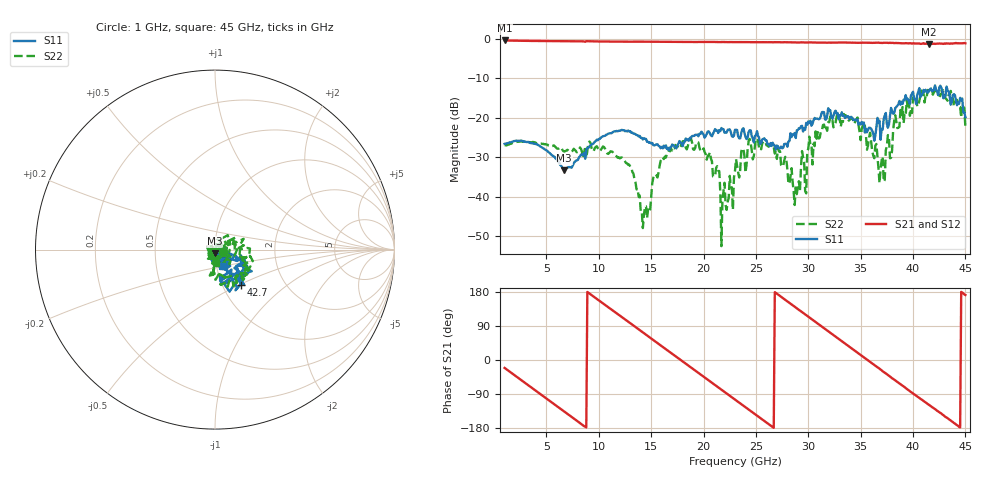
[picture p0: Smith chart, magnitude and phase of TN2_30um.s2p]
!Keysight Technologies,N5247B,MY61255062,A.19.80.06
!Date: Monday, May 18, 2026 12:48:02
!Correction: S11(Cdelta 2-Port  )
!S21(Cdelta 2-Port  )
!S12(Cdelta 2-Port  )
!S22(Cdelta 2-Port  )
!S2P File: Measurements: S11, S21, S12, S22:
# Hz S  dB  R 50
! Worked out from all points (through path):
!   441 points, 1 GHz to 45 GHz, reference 50 ohm
!   highest |S21| = -0.41 dB at 1 GHz (marker M1); lowest = -1.3 dB at 41.5 GHz (marker M2)
!   group delay of S21, straight-line fit = 56 ps
!   lowest |S11| = -33.3 dB at 6.7 GHz (marker M3), VSWR 1.04, Z = 49.8 - j2.15 ohm
!   |S11| at or under -10 dB: start of sweep to end of sweep
!   |S22| runs from -52.6 to -12.7 dB; largest |S21 - S12| = 0.012
!   S11 on the Smith chart (normalised r, x): 1 GHz: 1.09, -0.03; 42.7 GHz: 1.22, -0.50; 45 GHz: 1.06, -0.20
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1e9  -26.65 -16.0  -0.41 -20.9  -0.40 -20.9  -26.99 -17.7
3.9e9  -26.64 -78.9  -0.54 -79.6  -0.53 -79.6  -26.26 -79.8
6.7e9  -33.32 -93.3  -0.60 -136.1  -0.60 -136.0  -28.59 -112.6
8.4e9  -29.49 -60.3  -0.63 -170.5  -0.62 -170.5  -28.78 -112.8
1.04e10  -24.71 -71.2  -0.69 149.2  -0.68 149.2  -27.29 -136.9
1.29e10  -23.52 -101.6  -0.73 99.2  -0.72 99.2  -31.92 -166.6
1.42e10  -25.51 -107.3  -0.72 72.8  -0.72 72.8  -48.01 -114.7
1.57e10  -27.17 -100.5  -0.74 42.6  -0.74 42.6  -33.86 -72.0
1.89e10  -24.66 -80.6  -0.80 -21.7  -0.79 -21.7  -26.28 -110.2
2.13e10  -23.23 -83.0  -0.81 -70.3  -0.81 -70.2  -32.29 -176.4
2.19e10  -22.90 -83.2  -0.80 -82.2  -0.80 -82.1  -38.76 106.0
2.3e10  -23.08 -90.5  -0.83 -104.4  -0.82 -104.3  -33.53 -24.3
2.44e10  -23.22 -90.2  -0.83 -132.6  -0.84 -132.6  -25.38 -47.5
2.67e10  -26.98 -70.6  -0.85 -179.0  -0.85 -178.9  -27.50 -98.1
2.88e10  -25.16 -46.2  -0.91 138.5  -0.91 138.5  -37.70 101.2
3.04e10  -21.57 -46.6  -0.94 106.2  -0.94 106.1  -31.88 29.8
3.44e10  -20.66 -64.9  -0.97 25.8  -1.00 25.7  -21.58 -70.2
3.7e10  -22.86 -28.9  -1.04 -27.0  -1.02 -27.3  -30.82 134.1
3.77e10  -21.76 -30.2  -1.05 -41.6  -1.01 -41.5  -25.18 78.3
4.15e10  -13.38 -47.7  -1.29 -117.8  -1.23 -117.7  -13.25 -33.0
4.27e10  -12.35 -53.8  -1.19 -141.0  -1.28 -141.5  -12.80 -63.2
4.5e10  -19.87 -67.3  -1.13 171.5  -1.09 171.4  -22.47 -86.6
